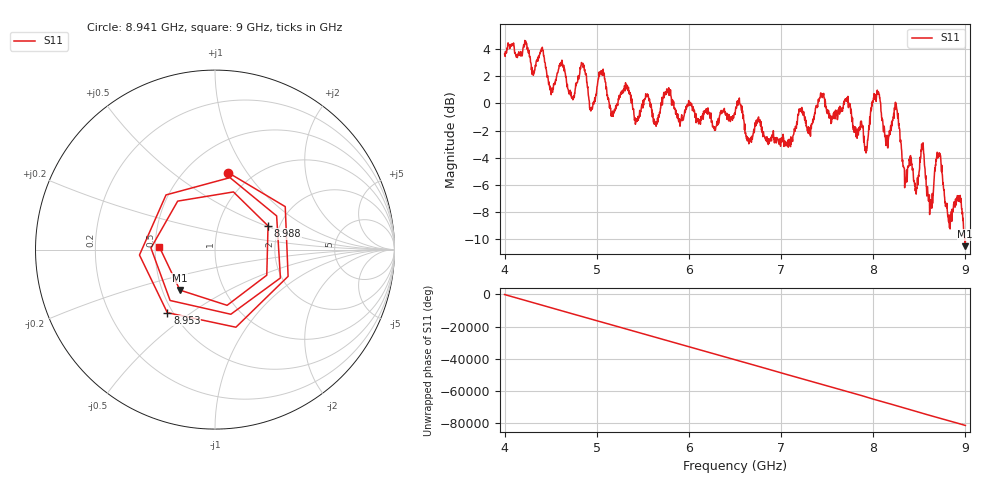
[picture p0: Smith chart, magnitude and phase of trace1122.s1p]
! Created with skrf 1.8.0 (http://scikit-rf.org).
# Hz S RI R 50.0
!freq ReS11 ImS11
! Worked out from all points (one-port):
!   1601 points, 4 GHz to 9 GHz, reference 50 ohm
!   lowest |S11| = -10.5 dB at 8.997 GHz (marker M1), VSWR 1.85, Z = 30.8 - j15.2 ohm
!   |S11| at or under -10 dB: 8.994231 GHz to end of sweep
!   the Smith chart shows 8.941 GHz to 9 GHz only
!   S11 on the Smith chart (normalised r, x): 8.941 GHz: 0.78, +0.82; 8.953 GHz: 0.47, -0.41; 8.988 GHz: 1.74, +0.51; 9 GHz: 0.53, +0.02
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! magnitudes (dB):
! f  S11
! 4 GHz  3.6
! 4.406 GHz  3.9
! 4.503 GHz  0.8
! 4.625 GHz  3.0
! 4.738 GHz  0.4
! 4.853 GHz  2.6
! 4.944 GHz  -0.4
! 5.05 GHz  2.3
! 5.25 GHz  0.5
! 5.875 GHz  -1.1
! 6.5 GHz  -0.8
! 7.125 GHz  -2.8
! 7.438 GHz  0.7
! 7.75 GHz  -0.2
! 7.919 GHz  -3.2
! 8.034 GHz  0.4
! 8.147 GHz  -2.9
! 8.247 GHz  0.0
! 8.375 GHz  -4.6
! 8.531 GHz  -3.4
! 8.625 GHz  -7.4
! 8.709 GHz  -3.9
! 8.816 GHz  -8.7
! 8.941 GHz  -7.2
! 8.953 GHz  -7.1
! 8.988 GHz  -9.8
! 8.997 GHz  -10.5
! 9 GHz  -10.2
